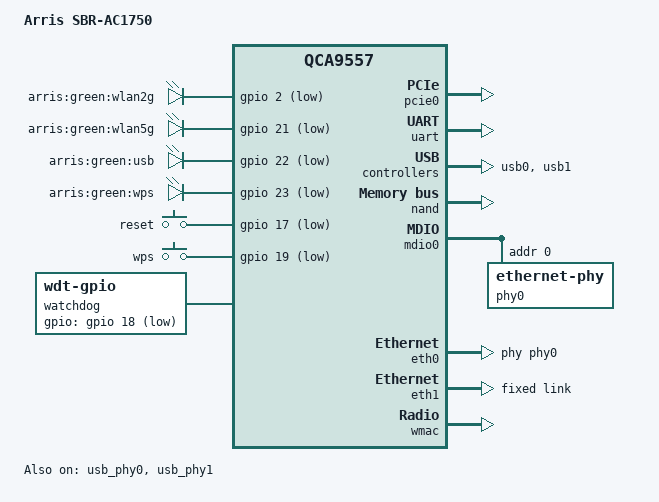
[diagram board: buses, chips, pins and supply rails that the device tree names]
// SPDX-License-Identifier: GPL-2.0-or-later OR MIT
/dts-v1/;

#include <dt-bindings/gpio/gpio.h>
#include <dt-bindings/input/input.h>

#include "qca955x.dtsi"

/ {
	model = "Arris SBR-AC1750";
	compatible = "arris,sbr-ac1750", "qca,qca9557";

	chosen {
		bootargs = "console=ttyS0,115200";
	};

	aliases {
		led-boot = &led_wps;
		led-failsafe = &led_wps;
		led-upgrade = &led_wps;
		label-mac-device = &eth0;
	};

	leds {
		compatible = "gpio-leds";

		wlan2g {
			label = "arris:green:wlan2g";
			gpios = <&gpio 2 GPIO_ACTIVE_LOW>;
			linux,default-trigger = "phy1tpt";
		};

		wlan5g {
			label = "arris:green:wlan5g";
			gpios = <&gpio 21 GPIO_ACTIVE_LOW>;
			linux,default-trigger = "phy0tpt";
		};

		usb {
			label = "arris:green:usb";
			gpios = <&gpio 22 GPIO_ACTIVE_LOW>;
			trigger-sources = <&hub_port0>, <&hub_port1>;
			linux,default-trigger = "usbport";
		};

		led_wps: wps {
			label = "arris:green:wps";
			gpios = <&gpio 23 GPIO_ACTIVE_LOW>;
		};
	};

	keys {
		compatible = "gpio-keys";

		reset {
			linux,code = <KEY_RESTART>;
			gpios = <&gpio 17 GPIO_ACTIVE_LOW>;
		};

		wps {
			linux,code = <KEY_WPS_BUTTON>;
			gpios = <&gpio 19 GPIO_ACTIVE_LOW>;
		};
	};

	watchdog {
		compatible = "linux,wdt-gpio";
		gpios = <&gpio 18 GPIO_ACTIVE_LOW>;
		hw_algo = "toggle";
		hw_margin_ms = <1600>;
		always-running;
	};
};

&pcie0 {
	status = "okay";
};

&uart {
	status = "okay";
};

&gpio {
	status = "okay";
};

&usb_phy0 {
	status = "okay";
};

&usb0 {
	#address-cells = <1>;
	#size-cells = <0>;
	status = "okay";

	hub_port0: port@1 {
		reg = <1>;
		#trigger-source-cells = <0>;
	};
};

&usb_phy1 {
	status = "okay";
};

&usb1 {
	#address-cells = <1>;
	#size-cells = <0>;
	status = "okay";

	hub_port1: port@1 {
		reg = <1>;
		#trigger-source-cells = <0>;
	};
};

&nand {
	status = "okay";

	partitions {
		compatible = "fixed-partitions";
		#address-cells = <1>;
		#size-cells = <1>;

		partition@0 {
			label = "u-boot";
			reg = <0x000000 0x100000>;
			read-only;
		};

		partition@100000 {
			label = "boot-flag";
			reg = <0x100000 0x100000>;
		};

		partition@200000 {
			label = "kernel";
			reg = <0x200000 0x400000>;
		};

		partition@600000 {
			label = "ubi";
			reg = <0x600000 0x6400000>;
		};

		ft: partition@6a00000 {
			label = "ft";
			reg = <0x6a00000 0x100000>;
			read-only;
		};

		partition@6b00000 {
			label = "PKI";
			reg = <0x6b00000 0x200000>;
			read-only;
		};

		caldata: partition@6d00000 {
			label = "caldata";
			reg = <0x6d00000 0x100000>;
			read-only;
		};
	};
};

&mdio0 {
	status = "okay";

	phy0: ethernet-phy@0 {
		reg = <0>;

		qca,ar8327-initvals = <
			0x04 0x87600000 /* PORT0 PAD MODE CTRL */
			0x0c 0x00080080 /* PORT6 PAD MODE CTRL */
			0x7c 0x0000007e /* PORT0 STATUS */
			0x94 0x0000007e /* PORT6 STATUS */
			>;
	};
};

&eth0 {
	status = "okay";

	mtd-mac-address = <&ft 0x0>;
	nvmem-cells = <&macaddr_ft_0>;
	nvmem-cell-names = "mac-address";
	pll-data = <0x56000000 0x00000101 0x00001616>;
	phy-handle = <&phy0>;
};

&eth1 {
	status = "okay";

	mtd-mac-address = <&ft 0x6>;
	nvmem-cells = <&macaddr_ft_6>;
	nvmem-cell-names = "mac-address";
	pll-data = <0x03000101 0x00000101 0x00001616>;
	fixed-link {
		speed = <1000>;
		full-duplex;
	};
};

&wmac {
	status = "okay";

	mtd-cal-data = <&caldata 0x1000>;
	mtd-mac-address = <&ft 0xc>;
	nvmem-cells = <&macaddr_ft_c>;
	nvmem-cell-names = "mac-address";
};

&ft {
	compatible = "nvmem-cells";
	#address-cells = <1>;
	#size-cells = <1>;

	macaddr_ft_0: macaddr@0 {
		reg = <0x0 0x6>;
	};

	macaddr_ft_6: macaddr@6 {
		reg = <0x6 0x6>;
	};

	macaddr_ft_c: macaddr@c {
		reg = <0xc 0x6>;
	};
};
